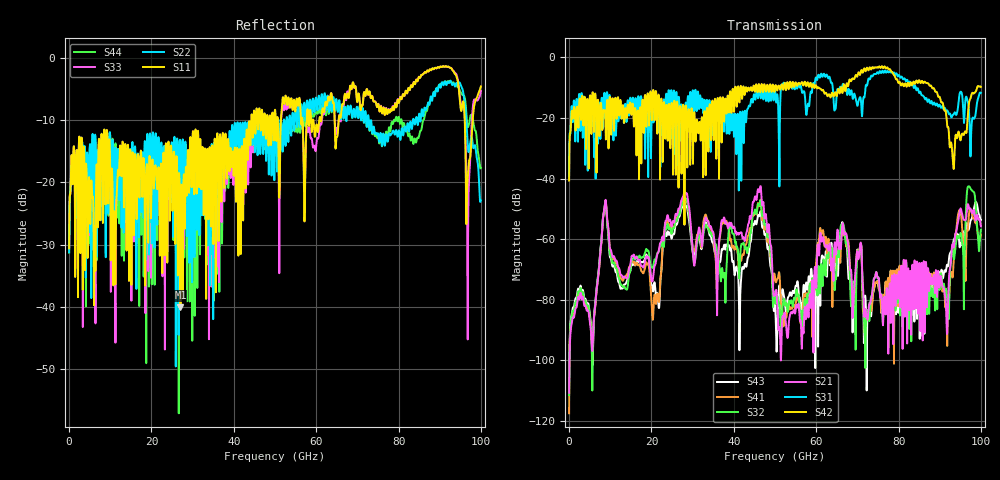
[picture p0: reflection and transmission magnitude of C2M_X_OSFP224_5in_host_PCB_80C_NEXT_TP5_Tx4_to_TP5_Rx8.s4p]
# GHz S RI R 45
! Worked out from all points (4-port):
!   4000 points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, 25 MHz to 100 GHz, reference 45 ohm
!   strongest paths, dB at 25 MHz, 25.02 GHz, 50.02 GHz, 75.03 GHz, 100 GHz:
!     S42: -40.6, -15.9, -9.8, -3.4, -9.8
!     S31: -39.0, -15.9, -10.9, -5.2, -11.7
!     S21: -110.7, -55.3, -78.4, -72.9, -55.7
!     S32: -111.4, -57.6, -79.7, -72.7, -56.9
!     S41: -117.5, -56.9, -72.5, -74.4, -58.6
!     S43: -107.9, -59.4, -81.2, -74.7, -53.7
!   lowest |S11| = -40.1 dB at 27.05 GHz (marker M1), VSWR 1.02, Z = 45.8 - j0.496 ohm
!   |S11| at or under -10 dB: start of sweep to 44.22 GHz; 59.34 GHz to 60.74 GHz (1.403 GHz wide, 2.34 % of centre); 96.08 GHz to 98.01 GHz (1.929 GHz wide, 1.99 % of centre)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
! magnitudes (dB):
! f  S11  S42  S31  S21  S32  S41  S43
! 25 MHz  -30.6  -40.6  -39.0  -110.7  -111.4  -117.5  -107.9
! 8.725 GHz  -13.8  -17.8  -13.1  -48.3  -48.4  -48.6  -48.7
! 21.48 GHz  -21.0  -21.6  -18.6  -64.8  -64.5  -77.9  -78.1
! 27.05 GHz  -40.1  -16.7  -20.4  -48.6  -50.4  -49.4  -51.3
! 46.23 GHz  -8.1  -9.4  -10.9  -44.3  -48.7  -49.0  -52.3
! 51 GHz  -22.4  -9.4  -30.9  -89.1  -81.9  -70.9  -75.7
! 100 GHz  -4.6  -9.8  -11.7  -55.7  -56.9  -58.6  -53.7
